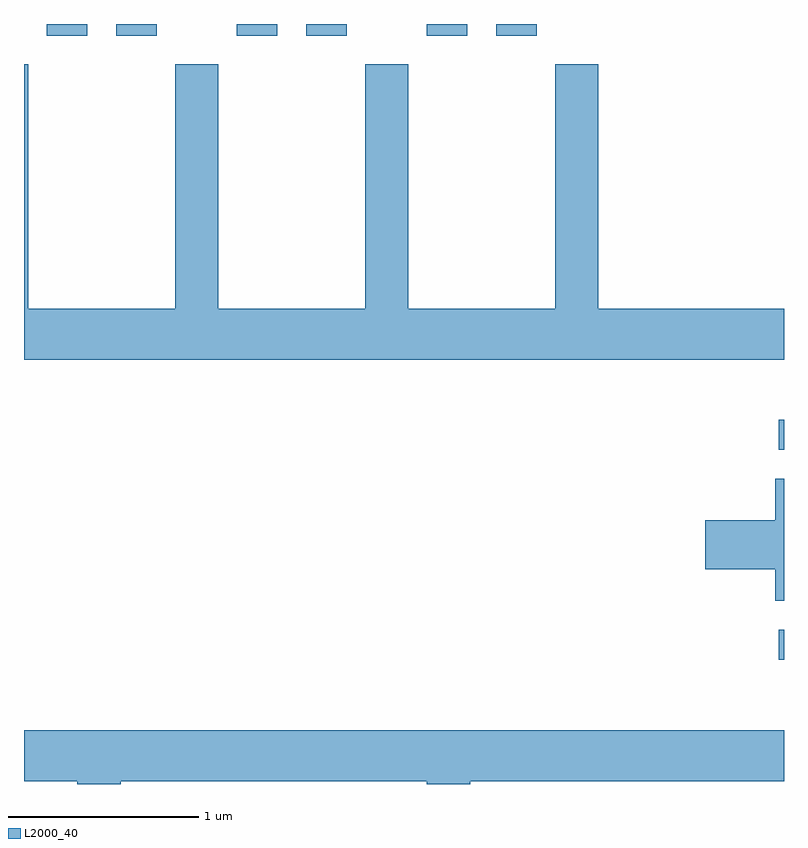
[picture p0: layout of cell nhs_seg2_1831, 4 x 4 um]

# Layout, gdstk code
import gdstk
lib = gdstk.Library(unit=1e-6, precision=1e-09)
def R(c, l, rs):  # rectangles x0, y0, x1, y1
    for r in rs: c.add(gdstk.rectangle(r[:2], r[2:], *l))
def P(c, l, *ps):  # polygons
    for p in ps: c.add(gdstk.Polygon(p, *l))
L2000_40 = (2000, 40)

nhs_seg2_1831 = lib.new_cell('nhs_seg2_1831')
R(nhs_seg2_1831, L2000_40, [(241.583,1104.456,241.611,1104.614), (241.583,1105.561,241.611,1105.719), (237.731,1107.741,237.944,1107.802), (238.096,1107.741,238.309,1107.802), (238.731,1107.741,238.944,1107.802), (239.096,1107.741,239.309,1107.802), (239.731,1107.741,239.944,1107.802), (240.096,1107.741,240.309,1107.802)])
P(nhs_seg2_1831, L2000_40, [(241.611,1106.304),(240.634,1106.304),(240.634,1107.589),(240.406,1107.589),(240.406,1106.304),(239.634,1106.304),(239.634,1107.589),(239.406,1107.589),(239.406,1106.304),(238.634,1106.304),(238.634,1107.589),(238.406,1107.589),(238.406,1106.304),(237.634,1106.304),(237.634,1107.589),(237.611,1107.589),(237.611,1106.036),(241.611,1106.036)],
  [(241.611,1105.409),(241.566,1105.409),(241.566,1105.189),(241.196,1105.189),(241.196,1104.931),(241.566,1104.931),(241.566,1104.766),(241.611,1104.766)],
  [(237.611,1103.816),(237.891,1103.816),(237.891,1103.802),(238.119,1103.802),(238.119,1103.816),(239.731,1103.816),(239.731,1103.802),(239.959,1103.802),(239.959,1103.816),(241.611,1103.816),(241.611,1104.084),(237.611,1104.084)])

lib.write_gds('nhs_seg2_1831.gds')
